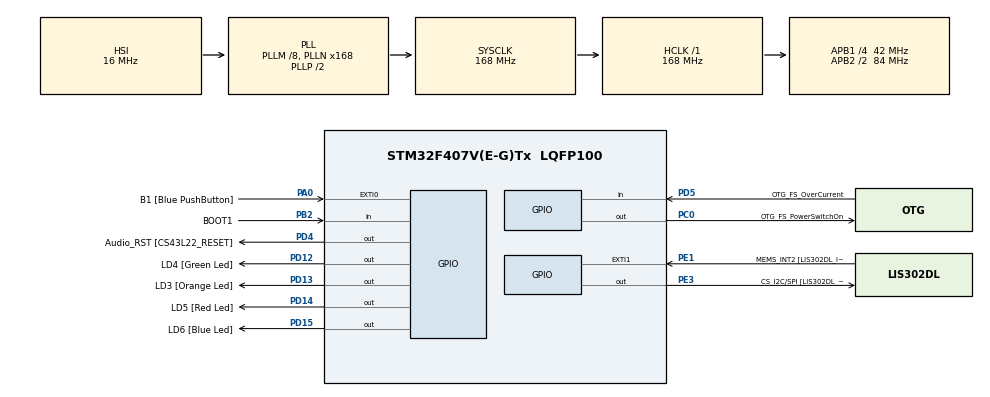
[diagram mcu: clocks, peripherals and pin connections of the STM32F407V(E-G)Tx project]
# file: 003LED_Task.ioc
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Mcu.Family=STM32F4
Mcu.Name=STM32F407V(E-G)Tx
Mcu.Package=LQFP100
NVIC.PriorityGroup=NVIC_PRIORITYGROUP_4
NVIC.TIM6_DAC_IRQn=true\:15\:0\:false\:false\:true\:false\:true\:true
NVIC.TimeBase=TIM6_DAC_IRQn
NVIC.TimeBaseIP=TIM6
PA0-WKUP.GPIO_Label=B1 [Blue PushButton]
PA0-WKUP.Signal=GPXTI0
PA10.GPIO_Label=OTG_FS_ID
PA10.GPIO_Mode=GPIO_MODE_AF_PP
PA10.GPIO_PuPd=GPIO_NOPULL
PA10.GPIO_Speed=GPIO_SPEED_FREQ_LOW
PA10.Signal=USB_OTG_FS_ID
PA11.GPIO_Label=OTG_FS_DM
PA11.GPIO_Mode=GPIO_MODE_AF_PP
PA11.GPIO_PuPd=GPIO_NOPULL
PA11.GPIO_Speed=GPIO_SPEED_FREQ_LOW
PA11.Signal=USB_OTG_FS_DM
PA12.GPIO_Label=OTG_FS_DP
PA12.GPIO_Mode=GPIO_MODE_AF_PP
PA12.GPIO_PuPd=GPIO_NOPULL
PA12.GPIO_Speed=GPIO_SPEED_FREQ_LOW
PA12.Signal=USB_OTG_FS_DP
PA13.GPIO_Label=SWDIO
PA13.Signal=SYS_JTMS-SWDIO
PA14.GPIO_Label=SWCLK
PA14.Signal=SYS_JTCK-SWCLK
PA4.GPIO_Label=I2S3_WS [CS43L22_LRCK]
PA4.GPIO_Mode=GPIO_MODE_AF_PP
PA4.GPIO_PuPd=GPIO_NOPULL
PA4.GPIO_Speed=GPIO_SPEED_FREQ_LOW
PA4.Signal=I2S3_WS
PA5.GPIO_Label=SPI1_SCK [LIS302DL_SCL/SPC]
PA5.GPIO_Mode=GPIO_MODE_AF_PP
PA5.GPIO_PuPd=GPIO_NOPULL
PA5.GPIO_Speed=GPIO_SPEED_FREQ_LOW
PA5.Signal=SPI1_SCK
PA6.GPIO_Label=SPI1_MISO [LIS302DL_SDO]
PA6.GPIO_Mode=GPIO_MODE_AF_PP
PA6.GPIO_PuPd=GPIO_NOPULL
PA6.GPIO_Speed=GPIO_SPEED_FREQ_LOW
PA6.Signal=SPI1_MISO
PA7.GPIO_Label=SPI1_MOSI [LIS302DL_SDA/SDI/SDO]
PA7.GPIO_Mode=GPIO_MODE_AF_PP
PA7.GPIO_PuPd=GPIO_NOPULL
PA7.GPIO_Speed=GPIO_SPEED_FREQ_LOW
PA7.Signal=SPI1_MOSI
PA9.GPIO_Label=VBUS_FS
PA9.GPIO_Mode=GPIO_MODE_INPUT
PA9.GPIO_PuPd=GPIO_NOPULL
PA9.Signal=USB_OTG_FS_VBUS
PB10.GPIO_Label=CLK_IN [MP45DT02_CLK]
PB10.GPIO_Mode=GPIO_MODE_AF_PP
PB10.GPIO_PuPd=GPIO_NOPULL
PB10.GPIO_Speed=GPIO_SPEED_FREQ_LOW
PB10.Signal=I2S2_CK
PB2.GPIO_Label=BOOT1
PB2.GPIO_Mode=GPIO_MODE_INPUT
PB2.GPIO_PuPd=GPIO_NOPULL
PB2.Signal=GPIO_Input
PB3.GPIO_Label=SWO
PB3.Signal=SYS_JTDO-SWO
PB6.GPIO_Label=Audio_SCL [CS43L22_SCL]
PB6.GPIO_Mode=GPIO_MODE_AF_OD
PB6.GPIO_PuPd=GPIO_NOPULL
PB6.GPIO_Speed=GPIO_SPEED_FREQ_LOW
PB6.Signal=I2C1_SCL
PB9.GPIO_Label=Audio_SDA [CS43L22_SDA]
PB9.GPIO_Mode=GPIO_MODE_AF_OD
PB9.GPIO_PuPd=GPIO_NOPULL
PB9.GPIO_Speed=GPIO_SPEED_FREQ_LOW
PB9.Signal=I2C1_SDA
PC0.GPIO_Label=OTG_FS_PowerSwitchOn
PC0.GPIO_PuPd=GPIO_NOPULL
PC0.GPIO_Speed=GPIO_SPEED_FREQ_LOW
PC0.PinState=GPIO_PIN_SET
PC0.Signal=GPIO_Output
PC10.GPIO_Label=I2S3_SCK [CS43L22_SCLK]
PC10.GPIO_Mode=GPIO_MODE_AF_PP
PC10.GPIO_PuPd=GPIO_NOPULL
PC10.GPIO_Speed=GPIO_SPEED_FREQ_LOW
PC10.Signal=I2S3_CK
PC12.GPIO_Label=I2S3_SD [CS43L22_SDIN]
PC12.GPIO_Mode=GPIO_MODE_AF_PP
PC12.GPIO_PuPd=GPIO_NOPULL
PC12.GPIO_Speed=GPIO_SPEED_FREQ_LOW
PC12.Signal=I2S3_SD
PC14-OSC32_IN.GPIO_Label=PC14-OSC32_IN
PC14-OSC32_IN.Signal=RCC_OSC32_IN
PC15-OSC32_OUT.GPIO_Label=PC15-OSC32_OUT
PC15-OSC32_OUT.Signal=RCC_OSC32_OUT
PC3.GPIO_Label=PDM_OUT [MP45DT02_DOUT]
PC3.GPIO_Mode=GPIO_MODE_AF_PP
PC3.GPIO_PuPd=GPIO_NOPULL
PC3.GPIO_Speed=GPIO_SPEED_FREQ_LOW
PC3.Signal=I2S2_SD
PC7.GPIO_Label=I2S3_MCK [CS43L22_MCLK]
PC7.GPIO_Mode=GPIO_MODE_AF_PP
PC7.GPIO_PuPd=GPIO_NOPULL
PC7.GPIO_Speed=GPIO_SPEED_FREQ_LOW
PC7.Signal=I2S3_MCK
PD12.GPIO_Label=LD4 [Green Led]
PD12.GPIO_PuPd=GPIO_NOPULL
PD12.GPIO_Speed=GPIO_SPEED_FREQ_LOW
PD12.Signal=GPIO_Output
PD13.GPIO_Label=LD3 [Orange Led]
PD13.GPIO_PuPd=GPIO_NOPULL
PD13.GPIO_Speed=GPIO_SPEED_FREQ_LOW
PD13.Signal=GPIO_Output
PD14.GPIO_Label=LD5 [Red Led]
PD14.GPIO_PuPd=GPIO_NOPULL
PD14.GPIO_Speed=GPIO_SPEED_FREQ_LOW
PD14.Signal=GPIO_Output
PD15.GPIO_Label=LD6 [Blue Led]
PD15.GPIO_PuPd=GPIO_NOPULL
PD15.GPIO_Speed=GPIO_SPEED_FREQ_LOW
PD15.Signal=GPIO_Output
PD4.GPIO_Label=Audio_RST [CS43L22_RESET]
PD4.GPIO_PuPd=GPIO_NOPULL
PD4.GPIO_Speed=GPIO_SPEED_FREQ_LOW
PD4.Signal=GPIO_Output
PD5.GPIO_Label=OTG_FS_OverCurrent
PD5.GPIO_Mode=GPIO_MODE_INPUT
PD5.GPIO_PuPd=GPIO_NOPULL
PD5.Signal=GPIO_Input
PE1.GPIO_Label=MEMS_INT2 [LIS302DL_INT2]
PE1.GPIO_ModeDefaultEXTI=GPIO_MODE_EVT_RISING
PE1.GPIO_PuPd=GPIO_NOPULL
PE1.Signal=GPXTI1
PE3.GPIO_Label=CS_I2C/SPI [LIS302DL_CS_I2C/SPI]
PE3.GPIO_PuPd=GPIO_NOPULL
PE3.GPIO_Speed=GPIO_SPEED_FREQ_LOW
PE3.Signal=GPIO_Output
PH0-OSC_IN.GPIO_Label=PH0-OSC_IN
PH0-OSC_IN.Signal=RCC_OSC_IN
PH1-OSC_OUT.GPIO_Label=PH1-OSC_OUT
PH1-OSC_OUT.Signal=RCC_OSC_OUT
ProjectManager.HeapSize=0x200
ProjectManager.StackSize=0x400
ProjectManager.TargetToolchain=STM32CubeIDE
RCC.48MHZClocksFreq_Value=48000000
RCC.AHBFreq_Value=168000000
RCC.APB1CLKDivider=RCC_HCLK_DIV4
RCC.APB1Freq_Value=42000000
RCC.APB1TimFreq_Value=84000000
RCC.APB2CLKDivider=RCC_HCLK_DIV2
RCC.APB2Freq_Value=84000000
RCC.APB2TimFreq_Value=168000000
RCC.CortexFreq_Value=168000000
RCC.HCLKFreq_Value=168000000
RCC.HSE_VALUE=8000000
RCC.HSI_VALUE=16000000
RCC.LSE_VALUE=32768
RCC.PLLM=8
RCC.PLLN=168
RCC.PLLQ=7
RCC.SYSCLKFreq_VALUE=168000000
RCC.SYSCLKSource=RCC_SYSCLKSOURCE_PLLCLK
RCC.VCOOutputFreq_Value=336000000
VP_SYS_VS_tim6.Mode=TIM6
board=STM32F407G-DISC1

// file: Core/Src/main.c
/* USER CODE BEGIN Header */
/**
  ******************************************************************************
  * @file           : main.c
  * @brief          : Main program body
  ******************************************************************************
  * @attention
  *
  * Copyright (c) 2026 STMicroelectronics.
  * All rights reserved.
  *
  * This software is licensed under terms that can be found in the LICENSE file
  * in the root directory of this software component.
  * If no LICENSE file comes with this software, it is provided AS-IS.
  *
  ******************************************************************************
  */
/* USER CODE END Header */
#include "main.h"

/* USER CODE BEGIN Includes */
#include <stdio.h>
#include "FreeRTOS.h"
#include "task.h"

/* USER CODE END Includes */

/* USER CODE BEGIN PV */
#define DWT_CTRL      (*(volatile uint32_t*)0xE0001000)

/* USER CODE END PV */

void SystemClock_Config(void);
static void MX_GPIO_Init(void);
/* USER CODE BEGIN PFP */
static void led_green_handler(void* parameters);
static void led_orange_handler(void* parameters);
static void led_red_handler(void* parameters);

extern void SEGGER_UART_init(uint32_t);
/* USER CODE END PFP */

int main(void)
{

  /* USER CODE BEGIN 1 */
  TaskHandle_t task1_handle;
  TaskHandle_t task2_handle;
  TaskHandle_t task3_handle;
  BaseType_t status;

  /* USER CODE END 1 */

  /* MCU Configuration--------------------------------------------------------*/

  /* Reset of all peripherals, Initializes the Flash interface and the Systick. */
  HAL_Init();

  /* Configure the system clock */
  SystemClock_Config();

  /* Initialize all configured peripherals */
  MX_GPIO_Init();
  /* USER CODE BEGIN 2 */

  SEGGER_UART_init(50000);

  //Enable the CYCCNT counter
  DWT_CTRL |= (1 << 0);

  SEGGER_SYSVIEW_Conf();

  status = xTaskCreate(led_green_handler, "led_green_task", 200, NULL, 2, &task1_handle);

  configASSERT(status == pdPASS);

  status = xTaskCreate(led_red_handler, "led_red_task", 200, NULL, 2, &task2_handle);

  configASSERT(status == pdPASS);

  status = xTaskCreate(led_orange_handler, "led_orange_task", 200, NULL, 2, &task3_handle);

  configASSERT(status == pdPASS);

  //start the FreeRTOS scheduler
  vTaskStartScheduler();

  //if the control comes here, then the launch of the scheduler has failed due to insufficient memory in heap

  /* USER CODE END 2 */

  /* Infinite loop */
  while (1)
  {

  }
}

void SystemClock_Config(void)
{
  RCC_OscInitTypeDef RCC_OscInitStruct = {0};
  RCC_ClkInitTypeDef RCC_ClkInitStruct = {0};

  /** Configure the main internal regulator output voltage
  */
  __HAL_RCC_PWR_CLK_ENABLE();
  __HAL_PWR_VOLTAGESCALING_CONFIG(PWR_REGULATOR_VOLTAGE_SCALE1);

  /** Initializes the RCC Oscillators according to the specified parameters
  * in the RCC_OscInitTypeDef structure.
  */
  RCC_OscInitStruct.OscillatorType = RCC_OSCILLATORTYPE_HSI;
  RCC_OscInitStruct.HSIState = RCC_HSI_ON;
  RCC_OscInitStruct.HSICalibrationValue = RCC_HSICALIBRATION_DEFAULT;
  RCC_OscInitStruct.PLL.PLLState = RCC_PLL_ON;
  RCC_OscInitStruct.PLL.PLLSource = RCC_PLLSOURCE_HSI;
  RCC_OscInitStruct.PLL.PLLM = 8;
  RCC_OscInitStruct.PLL.PLLN = 168;
  RCC_OscInitStruct.PLL.PLLP = RCC_PLLP_DIV2;
  RCC_OscInitStruct.PLL.PLLQ = 7;
  if (HAL_RCC_OscConfig(&RCC_OscInitStruct) != HAL_OK)
  {
    Error_Handler();
  }

  /** Initializes the CPU, AHB and APB buses clocks
  */
  RCC_ClkInitStruct.ClockType = RCC_CLOCKTYPE_HCLK|RCC_CLOCKTYPE_SYSCLK
                              |RCC_CLOCKTYPE_PCLK1|RCC_CLOCKTYPE_PCLK2;
  RCC_ClkInitStruct.SYSCLKSource = RCC_SYSCLKSOURCE_PLLCLK;
  RCC_ClkInitStruct.AHBCLKDivider = RCC_SYSCLK_DIV1;
  RCC_ClkInitStruct.APB1CLKDivider = RCC_HCLK_DIV4;
  RCC_ClkInitStruct.APB2CLKDivider = RCC_HCLK_DIV2;

  if (HAL_RCC_ClockConfig(&RCC_ClkInitStruct, FLASH_LATENCY_5) != HAL_OK)
  {
    Error_Handler();
  }
}

static void MX_GPIO_Init(void)
{
  GPIO_InitTypeDef GPIO_InitStruct = {0};

  /* GPIO Ports Clock Enable */
  __HAL_RCC_GPIOE_CLK_ENABLE();
  __HAL_RCC_GPIOC_CLK_ENABLE();
  __HAL_RCC_GPIOH_CLK_ENABLE();
  __HAL_RCC_GPIOA_CLK_ENABLE();
  __HAL_RCC_GPIOB_CLK_ENABLE();
  __HAL_RCC_GPIOD_CLK_ENABLE();

  /*Configure GPIO pin Output Level */
  HAL_GPIO_WritePin(CS_I2C_SPI_GPIO_Port, CS_I2C_SPI_Pin, GPIO_PIN_RESET);

  /*Configure GPIO pin Output Level */
  HAL_GPIO_WritePin(OTG_FS_PowerSwitchOn_GPIO_Port, OTG_FS_PowerSwitchOn_Pin, GPIO_PIN_SET);

  /*Configure GPIO pin Output Level */
  HAL_GPIO_WritePin(GPIOD, LD4_Pin|LD3_Pin|LD5_Pin|LD6_Pin
                          |Audio_RST_Pin, GPIO_PIN_RESET);

  /*Configure GPIO pin : CS_I2C_SPI_Pin */
  GPIO_InitStruct.Pin = CS_I2C_SPI_Pin;
  GPIO_InitStruct.Mode = GPIO_MODE_OUTPUT_PP;
  GPIO_InitStruct.Pull = GPIO_NOPULL;
  GPIO_InitStruct.Speed = GPIO_SPEED_FREQ_LOW;
  HAL_GPIO_Init(CS_I2C_SPI_GPIO_Port, &GPIO_InitStruct);

  /*Configure GPIO pin : OTG_FS_PowerSwitchOn_Pin */
  GPIO_InitStruct.Pin = OTG_FS_PowerSwitchOn_Pin;
  GPIO_InitStruct.Mode = GPIO_MODE_OUTPUT_PP;
  GPIO_InitStruct.Pull = GPIO_NOPULL;
  GPIO_InitStruct.Speed = GPIO_SPEED_FREQ_LOW;
  HAL_GPIO_Init(OTG_FS_PowerSwitchOn_GPIO_Port, &GPIO_InitStruct);

  /*Configure GPIO pin : PDM_OUT_Pin */
  GPIO_InitStruct.Pin = PDM_OUT_Pin;
  GPIO_InitStruct.Mode = GPIO_MODE_AF_PP;
  GPIO_InitStruct.Pull = GPIO_NOPULL;
  GPIO_InitStruct.Speed = GPIO_SPEED_FREQ_LOW;
  GPIO_InitStruct.Alternate = GPIO_AF5_SPI2;
  HAL_GPIO_Init(PDM_OUT_GPIO_Port, &GPIO_InitStruct);

  /*Configure GPIO pin : B1_Pin */
  GPIO_InitStruct.Pin = B1_Pin;
  GPIO_InitStruct.Mode = GPIO_MODE_IT_RISING;
  GPIO_InitStruct.Pull = GPIO_NOPULL;
  HAL_GPIO_Init(B1_GPIO_Port, &GPIO_InitStruct);

  /*Configure GPIO pin : I2S3_WS_Pin */
  GPIO_InitStruct.Pin = I2S3_WS_Pin;
  GPIO_InitStruct.Mode = GPIO_MODE_AF_PP;
  GPIO_InitStruct.Pull = GPIO_NOPULL;
  GPIO_InitStruct.Speed = GPIO_SPEED_FREQ_LOW;
  GPIO_InitStruct.Alternate = GPIO_AF6_SPI3;
  HAL_GPIO_Init(I2S3_WS_GPIO_Port, &GPIO_InitStruct);

  /*Configure GPIO pins : SPI1_SCK_Pin SPI1_MISO_Pin SPI1_MOSI_Pin */
  GPIO_InitStruct.Pin = SPI1_SCK_Pin|SPI1_MISO_Pin|SPI1_MOSI_Pin;
  GPIO_InitStruct.Mode = GPIO_MODE_AF_PP;
  GPIO_InitStruct.Pull = GPIO_NOPULL;
  GPIO_InitStruct.Speed = GPIO_SPEED_FREQ_LOW;
  GPIO_InitStruct.Alternate = GPIO_AF5_SPI1;
  HAL_GPIO_Init(GPIOA, &GPIO_InitStruct);

  /*Configure GPIO pin : BOOT1_Pin */
  GPIO_InitStruct.Pin = BOOT1_Pin;
  GPIO_InitStruct.Mode = GPIO_MODE_INPUT;
  GPIO_InitStruct.Pull = GPIO_NOPULL;
  HAL_GPIO_Init(BOOT1_GPIO_Port, &GPIO_InitStruct);

  /*Configure GPIO pin : CLK_IN_Pin */
  GPIO_InitStruct.Pin = CLK_IN_Pin;
  GPIO_InitStruct.Mode = GPIO_MODE_AF_PP;
  GPIO_InitStruct.Pull = GPIO_NOPULL;
  GPIO_InitStruct.Speed = GPIO_SPEED_FREQ_LOW;
  GPIO_InitStruct.Alternate = GPIO_AF5_SPI2;
  HAL_GPIO_Init(CLK_IN_GPIO_Port, &GPIO_InitStruct);

  /*Configure GPIO pins : LD4_Pin LD3_Pin LD5_Pin LD6_Pin
                           Audio_RST_Pin */
  GPIO_InitStruct.Pin = LD4_Pin|LD3_Pin|LD5_Pin|LD6_Pin
                          |Audio_RST_Pin;
  GPIO_InitStruct.Mode = GPIO_MODE_OUTPUT_PP;
  GPIO_InitStruct.Pull = GPIO_NOPULL;
  GPIO_InitStruct.Speed = GPIO_SPEED_FREQ_LOW;
  HAL_GPIO_Init(GPIOD, &GPIO_InitStruct);

  /*Configure GPIO pins : I2S3_MCK_Pin I2S3_SCK_Pin I2S3_SD_Pin */
  GPIO_InitStruct.Pin = I2S3_MCK_Pin|I2S3_SCK_Pin|I2S3_SD_Pin;
  GPIO_InitStruct.Mode = GPIO_MODE_AF_PP;
  GPIO_InitStruct.Pull = GPIO_NOPULL;
  GPIO_InitStruct.Speed = GPIO_SPEED_FREQ_LOW;
  GPIO_InitStruct.Alternate = GPIO_AF6_SPI3;
  HAL_GPIO_Init(GPIOC, &GPIO_InitStruct);

  /*Configure GPIO pin : VBUS_FS_Pin */
  GPIO_InitStruct.Pin = VBUS_FS_Pin;
  GPIO_InitStruct.Mode = GPIO_MODE_INPUT;
  GPIO_InitStruct.Pull = GPIO_NOPULL;
  HAL_GPIO_Init(VBUS_FS_GPIO_Port, &GPIO_InitStruct);

  /*Configure GPIO pins : OTG_FS_ID_Pin OTG_FS_DM_Pin OTG_FS_DP_Pin */
  GPIO_InitStruct.Pin = OTG_FS_ID_Pin|OTG_FS_DM_Pin|OTG_FS_DP_Pin;
  GPIO_InitStruct.Mode = GPIO_MODE_AF_PP;
  GPIO_InitStruct.Pull = GPIO_NOPULL;
  GPIO_InitStruct.Speed = GPIO_SPEED_FREQ_LOW;
  GPIO_InitStruct.Alternate = GPIO_AF10_OTG_FS;
  HAL_GPIO_Init(GPIOA, &GPIO_InitStruct);

  /*Configure GPIO pin : OTG_FS_OverCurrent_Pin */
  GPIO_InitStruct.Pin = OTG_FS_OverCurrent_Pin;
  GPIO_InitStruct.Mode = GPIO_MODE_INPUT;
  GPIO_InitStruct.Pull = GPIO_NOPULL;
  HAL_GPIO_Init(OTG_FS_OverCurrent_GPIO_Port, &GPIO_InitStruct);

  /*Configure GPIO pins : Audio_SCL_Pin Audio_SDA_Pin */
  GPIO_InitStruct.Pin = Audio_SCL_Pin|Audio_SDA_Pin;
  GPIO_InitStruct.Mode = GPIO_MODE_AF_OD;
  GPIO_InitStruct.Pull = GPIO_NOPULL;
  GPIO_InitStruct.Speed = GPIO_SPEED_FREQ_LOW;
  GPIO_InitStruct.Alternate = GPIO_AF4_I2C1;
  HAL_GPIO_Init(GPIOB, &GPIO_InitStruct);

  /*Configure GPIO pin : MEMS_INT2_Pin */
  GPIO_InitStruct.Pin = MEMS_INT2_Pin;
  GPIO_InitStruct.Mode = GPIO_MODE_EVT_RISING;
  GPIO_InitStruct.Pull = GPIO_NOPULL;
  HAL_GPIO_Init(MEMS_INT2_GPIO_Port, &GPIO_InitStruct);

}

/* USER CODE BEGIN 4 */
static void led_green_handler(void* parameters)
{
	TickType_t xLastWakeTime;
	xLastWakeTime = xTaskGetTickCount();
	while(1)
	{
		SEGGER_SYSVIEW_PrintfTarget("Toggling green LED");
		HAL_GPIO_TogglePin(GPIOD, LED_GEREEN_PIN);
		vTaskDelayUntil(&xLastWakeTime, pdMS_TO_TICKS(1000));
	}

}

static void led_orange_handler(void* parameters)
{
	TickType_t xLastWakeTime;
	xLastWakeTime = xTaskGetTickCount();
	while(1)
	{
		SEGGER_SYSVIEW_PrintfTarget("Toggling orange LED");
		HAL_GPIO_TogglePin(GPIOD, LED_ORANGE_PIN);
		vTaskDelayUntil(&xLastWakeTime, pdMS_TO_TICKS(800));
	}

}
static void led_red_handler(void* parameters)
{
	TickType_t xLastWakeTime;
	xLastWakeTime = xTaskGetTickCount();
	while(1)
	{
		SEGGER_SYSVIEW_PrintfTarget("Toggling red LED");
		HAL_GPIO_TogglePin(GPIOD, LED_RED_PIN);
		vTaskDelayUntil(&xLastWakeTime, pdMS_TO_TICKS(400));
	}

}

/* USER CODE END 4 */

void HAL_TIM_PeriodElapsedCallback(TIM_HandleTypeDef *htim)
{
  if (htim->Instance == TIM6) {
    HAL_IncTick();
  }
}

void Error_Handler(void)
{
  __disable_irq();
  while (1)
  {
  }
}
